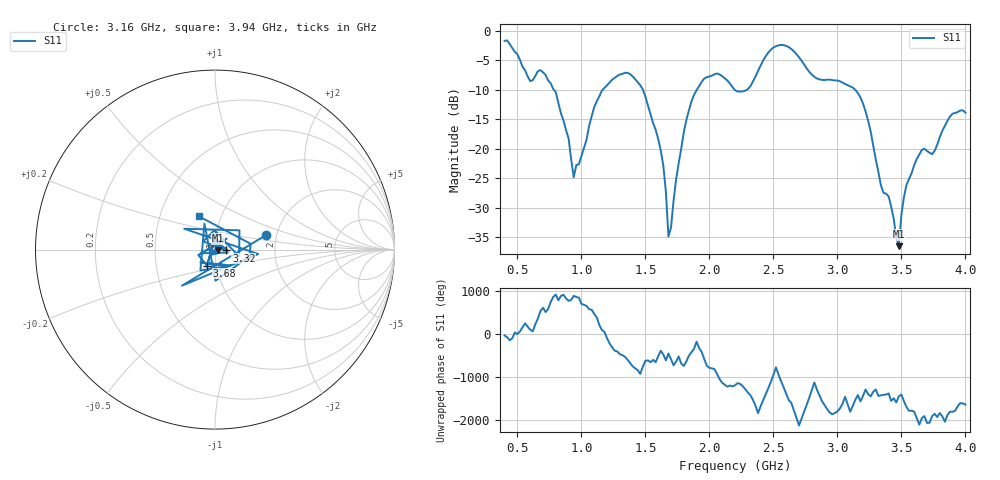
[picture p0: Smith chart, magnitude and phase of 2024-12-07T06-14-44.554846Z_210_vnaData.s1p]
!Created with skrf (http://scikit-rf.org).
# Hz S RI R 50.0
!freq ReS11 ImS11
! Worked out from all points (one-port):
!   181 points, 400 MHz to 4 GHz, reference 50 ohm
!   lowest |S11| = -36.6 dB at 3.48 GHz (marker M1), VSWR 1.03, Z = 51.5 - j0.397 ohm
!   |S11| at or under -10 dB: 785.2 MHz to 1.165 GHz (379.9 MHz wide, 39 % of centre); 1.481 GHz to 1.901 GHz (419.8 MHz wide, 24.8 % of centre); 3.14 GHz to end of sweep (the widest 3 of 4)
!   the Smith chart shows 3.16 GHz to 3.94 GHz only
!   S11 on the Smith chart (normalised r, x): 3.16 GHz: 1.76, +0.32; 3.32 GHz: 1.14, -0.01; 3.68 GHz: 0.90, -0.16; 3.94 GHz: 0.79, +0.30
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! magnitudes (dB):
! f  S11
! 400 MHz  -1.7
! 600 MHz  -8.5
! 720 MHz  -7.5
! 860 MHz  -15.2
! 940 MHz  -24.9
! 1.12 GHz  -11.9
! 1.3 GHz  -7.4
! 1.46 GHz  -9.2
! 1.58 GHz  -16.8
! 1.64 GHz  -22.9
! 1.68 GHz  -34.9
! 1.76 GHz  -22.5
! 1.86 GHz  -11.9
! 1.96 GHz  -8.1
! 2.2 GHz  -10.0
! 2.3 GHz  -9.9
! 2.5 GHz  -2.8
! 2.66 GHz  -3.4
! 3.1 GHz  -9.4
! 3.16 GHz  -10.5
! 3.32 GHz  -23.9
! 3.48 GHz  -36.6
! 3.52 GHz  -28.2
! 3.56 GHz  -25.1
! 3.68 GHz  -20.0
! 3.74 GHz  -20.9
! 3.94 GHz  -13.8
! 4 GHz  -13.9
